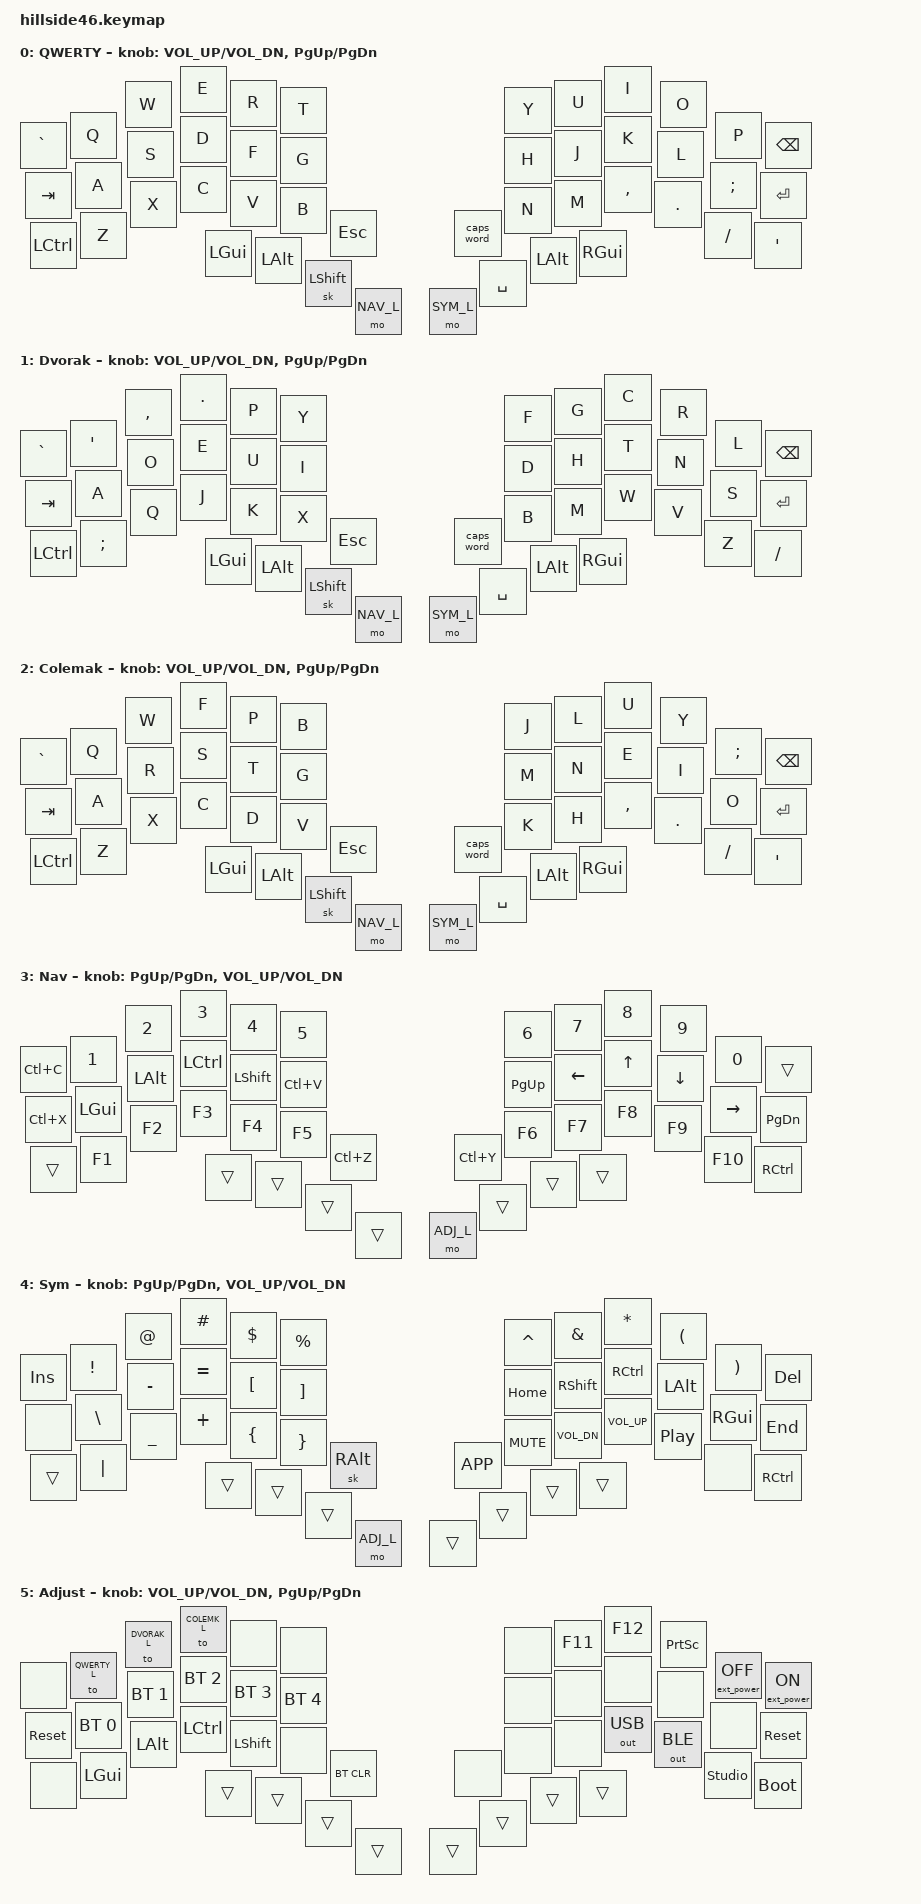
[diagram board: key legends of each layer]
/*
 * Copyright (c) 2021-2022 The ZMK Contributors
 *
 * SPDX-License-Identifier: MIT
 */

#include <behaviors.dtsi>
#include <dt-bindings/zmk/bt.h>
#include <dt-bindings/zmk/ext_power.h>
#include <dt-bindings/zmk/keys.h>
#include <dt-bindings/zmk/outputs.h>

#define QWERTY_L 0
#define DVORAK_L 1
#define COLEMK_L 2
#define NAV_L    3
#define SYM_L    4
#define ADJ_L    5

#define Undo   LC(Z)
#define Cut    LC(X)
#define Copy   LC(C)
#define Paste  LC(V)
#define Redo   LC(Y)


/ {
        behaviors {
                /* Hillside 46 positions:
                 *  0  1  2  3  4  5                    6  7  8  9 10 11
                 * 12 13 14 15 16 17                   18 19 20 21 22 23
                 * 24 25 26 27 28 29 30             31 32 33 34 35 36 37
                 *             38 39 40 41         42 43 44 45
                 */
                hml: home_row_mod_left {
                        compatible = "zmk,behavior-hold-tap";
                        #binding-cells = <2>;
                        flavor = "balanced";
                        tapping-term-ms = <280>;
                        quick-tap-ms = <175>;
                        require-prior-idle-ms = <150>;
                        bindings = <&kp>, <&kp>;
                        hold-trigger-key-positions = <6 7 8 9 10 11 18 19 20 21 22 23 31 32 33 34 35 36 37 38 39 40 41 42 43 44 45>;
                        hold-trigger-on-release;
                        display-name = "HRM Left";
                };

                hmr: home_row_mod_right {
                        compatible = "zmk,behavior-hold-tap";
                        #binding-cells = <2>;
                        flavor = "balanced";
                        tapping-term-ms = <280>;
                        quick-tap-ms = <175>;
                        require-prior-idle-ms = <150>;
                        bindings = <&kp>, <&kp>;
                        hold-trigger-key-positions = <0 1 2 3 4 5 12 13 14 15 16 17 24 25 26 27 28 29 30 38 39 40 41 42 43 44 45>;
                        hold-trigger-on-release;
                        display-name = "HRM Right";
                };
        };

        keymap {
                compatible = "zmk,keymap";

                default_layer {
                        display-name = "QWERTY";
/* QWERTY
 * -------------------------------------------------------------------------------------------------------------------------------------
 * | `     |   Q   |   W   |   E   |   R   |   T   |-----------------------------------|   Y   |   U   |   I   |   O   |   P   | BKSPC |
 * | TAB   |   A   |   S   |   D   |   F   |   G   |-----------------------------------|   H   |   J   |   K   |   L   |   ;   | ENTER |
 * | CTRL  |   Z   |   X   |   C   |   V   |   B   |  ESC  |-------------------|  CAPS |   N   |   M   |   ,   |   .   |   /   |   '   |
 *                                 |  GUI  |  ALT  |SK SHFT|  Nav  |---|  Sym  | SPACE |  ALT  |  GUI  |
 */
                        bindings = <
&kp  GRAVE    &kp  Q        &kp  W        &kp  E        &kp  R        &kp  T                                                                         &kp  Y        &kp  U        &kp  I        &kp  O        &kp  P        &kp  BSPC
&kp  TAB      &kp  A        &kp  S        &kp  D        &kp  F        &kp  G                                                                         &kp  H        &kp  J        &kp  K        &kp  L        &kp  SEMI     &kp  ENTER  
&kp  LCTRL    &kp  Z        &kp  X        &kp  C        &kp  V        &kp  B        &kp  ESC                                           &caps_word    &kp  N        &kp  M        &kp  COMMA    &kp  DOT      &kp  SLASH    &kp  SQT
                                                        &kp  LGUI     &kp  LALT     &sk  LSHIFT    &mo  NAV_L            &mo  SYM_L    &kp  SPACE    &kp  LALT     &kp  RGUI
                        >;
			
                        sensor-bindings = <&inc_dec_kp C_VOL_UP C_VOL_DN &inc_dec_kp PG_UP PG_DN>;
                };
		
                dvorak_layer {
                        display-name = "Dvorak";
/* DVORAK
 * -------------------------------------------------------------------------------------------------------------------------------------
 * | `     |   '   |   ,   |   .   |   P   |   Y   |-----------------------------------|   F   |   G   |   C   |   R   |   L   | BKSPC |
 * | TAB   |   A   |   O   |   E   |   U   |   I   |-----------------------------------|   D   |   H   |   T   |   N   |   S   | ENTER |
 * | CTRL  |   ;   |   Q   |   J   |   K   |   X   |  ESC  |-------------------| CAPS  |   B   |   M   |   W   |   V   |   Z   |   /   |
 *                                 |  GUI  |  ALT  |SK SHFT|  Nav  |---|  Sym  | SPACE |  ALT  |  GUI  |
 */
                        bindings = <
&kp  GRAVE    &kp  SQT      &kp  COMMA    &kp  DOT      &kp  P        &kp  Y                                                                         &kp  F        &kp  G        &kp  C        &kp  R        &kp  L        &kp  BSPC
&kp  TAB      &kp  A        &kp  O        &kp  E        &kp  U        &kp  I                                                                         &kp  D        &kp  H        &kp  T        &kp  N        &kp  S        &kp  ENTER
&kp  LCTRL    &kp  SEMI     &kp  Q        &kp  J        &kp  K        &kp  X        &kp  ESC                                           &caps_word    &kp  B        &kp  M        &kp  W        &kp  V        &kp  Z        &kp  SLASH
                                                        &kp  LGUI     &kp  LALT     &sk  LSHIFT    &mo  NAV_L            &mo  SYM_L    &kp  SPACE    &kp  LALT     &kp  RGUI
                        >;
			
                        sensor-bindings = <&inc_dec_kp C_VOL_UP C_VOL_DN &inc_dec_kp PG_UP PG_DN>;
                };
		
                colemak_layer {
                        display-name = "Colemak";
/* COLEMAK-DH
 * -------------------------------------------------------------------------------------------------------------------------------------
 * | `     |   Q   |   W   |   F   |   P   |   B   |-----------------------------------|   J   |   L   |   U   |   Y   |   ;   | BKSPC |
 * | TAB   |   A   |   R   |   S   |   T   |   G   |-----------------------------------|   M   |   N   |   E   |   I   |   O   | ENTER |
 * | CTRL  |   Z   |   X   |   C   |   D   |   V   |  ESC  |-------------------| CAPS  |   K   |   H   |   ,   |   .   |   /   |   '   |
 *                                 |  GUI  |  ALT  |SK SHFT|  Nav  |---|  Sym  | SPACE |  ALT  |  GUI  |
 */
                        bindings = <
&kp  GRAVE    &kp  Q        &kp  W        &kp  F        &kp  P        &kp  B                                                                         &kp  J        &kp  L        &kp  U        &kp  Y        &kp  SEMI     &kp  BSPC
&kp  TAB      &kp  A        &kp  R        &kp  S        &kp  T        &kp  G                                                                         &kp  M        &kp  N        &kp  E        &kp  I        &kp  O        &kp  ENTER
&kp  LCTRL    &kp  Z        &kp  X        &kp  C        &kp  D        &kp  V        &kp   ESC                                          &caps_word    &kp  K        &kp  H        &kp  COMMA    &kp  DOT      &kp  SLASH    &kp  SQT
                                                        &kp  LGUI     &kp  LALT     &sk  LSHIFT    &mo  NAV_L            &mo  SYM_L    &kp  SPACE    &kp  LALT     &kp  RGUI
                        >;
			
                        sensor-bindings = <&inc_dec_kp C_VOL_UP C_VOL_DN &inc_dec_kp PG_UP PG_DN>;
                };
		
                nav_layer {
                        display-name = "Nav";
/* NAV   
 * -------------------------------------------------------------------------------------------------------------------------------------
 * | Copy  |   1   |   2   |   3   |   4   |   5   |-----------------------------------|   6   |   7   |   8   |   9   |   0   | BSPC  |
 * | Cut   |  GUI  |  Alt  | Ctrl  | Shift | Paste |-----------------------------------| PG UP |  Left |  Up   |  Down | Right | PG DN |
 * | Ctrl  |  F1   |  F2   |  F3   |  F4   |  F5   |  UnDo |-------------------| ReDo  |  F6   |  F7   |  F8   |  F9   |  F10  | Ctrl  |
 *                                 |       |       |       |       |---| ADJ_L |       |       |       |
 */
                        bindings = <
&kp  Copy     &kp  N1       &kp  N2       &kp  N3       &kp  N4       &kp  N5                                                                        &kp   N6      &kp   N7      &kp   N8      &kp   N9      &kp  N0       &trans
&kp  Cut      &kp  LGUI     &kp  LALT     &kp  LCTRL    &kp  LSHFT    &kp  Paste                                                                     &kp   PG_UP   &kp  LEFT    &kp   UP      &kp   DOWN    &kp  RIGHT    &kp PG_DN
&trans        &kp  F1       &kp  F2       &kp  F3       &kp  F4       &kp  F5       &kp Undo                                           &kp  Redo     &kp   F6      &kp  F7      &kp   F8      &kp   F9      &kp  F10      &kp RCTRL
                                                        &trans        &trans        &trans        &trans                 &mo ADJ_L     &trans        &trans        &trans 
                        >;
			
                        sensor-bindings = <&inc_dec_kp PG_UP PG_DN &inc_dec_kp C_VOL_UP C_VOL_DN>;
                };

                sym_layer {
                        display-name = "Sym";
/* SYM
 * -------------------------------------------------------------------------------------------------------------------------------------
 * | INS   |   !   |   @   |   #   |   $   |   %   |-----------------------------------|   ^   |   &   |   *   |   (   |   )   | BSPC  |
 * |       |   \   |   -   |   =   |   [   |   ]   |-----------------------------------| HOME  | Shift | Ctrl  | Alt   | Gui   | END   |
 * | Ctrl  |   |   |   _   |   +   |   {   |   }   |SkAltGr|-------------------| MENU  | Mute  | Vol-  | Vol+  | Play  |       | Ctrl  |
 *                                 |       |       |       |  ADJ_L |---|      |       |       |       |
 */
                        bindings = <
&kp  INS      &kp  EXCL     &kp  AT       &kp  HASH     &kp  DOLLAR   &kp  PERCENT                                                                   &kp  CARET    &kp  AMPS     &kp  ASTRK    &kp  LPAR     &kp  RPAR     &kp DEL
&none         &kp  BSLH     &kp  MINUS    &kp  EQUAL    &kp  LBKT     &kp  RBKT                                                                      &kp  HOME     &kp  RSHFT    &kp  RCTRL    &kp  LALT     &kp  RGUI     &kp END
&trans        &kp  PIPE     &kp  UNDER    &kp  PLUS     &kp  LBRC     &kp  RBRC     &sk  RALT                                          &kp K_APP     &kp  C_MUTE   &kp  C_VOL_DN &kp  C_VOL_UP &kp  C_PP     &none         &kp RCTRL
                                                        &trans        &trans        &trans       &mo  ADJ_L               &trans       &trans        &trans        &trans
                        >;
			
                        sensor-bindings = <&inc_dec_kp PG_UP PG_DN &inc_dec_kp C_VOL_UP C_VOL_DN>;
                };
		
                adj_layer {
                        display-name = "Adjust";
/* ADJUST
 * -------------------------------------------------------------------------------------------------------------------------------------
 * |       | QWERTY| DVORAK| COLEMK|       |       |-----------------------------------|       |  F11  |  F12  |Prt Scr|EP_OFF | EP_ON |
 * | RESET | BT 0  | BT 1  | BT 2  | BT 3  | BT 4  |-----------------------------------|       |       |       |       |       | RESET |
 * |       | LGUI  | LALT  | LCTRL | LSHIFT|       |BT CLR |-------------------|       |       |       |OUT_USB|OUT_BLE|STUDIO | BOOTL |
 *                                 |       |       |       |       |---|       |       |       |       |
 */
                        bindings = <
&none         &to  QWERTY_L &to  DVORAK_L &to  COLEMK_L &none         &none                                                                             &none             &kp   F11          &kp   F12  &kp PRINTSCREEN   &ext_power EP_OFF  &ext_power EP_ON
&sys_reset    &bt  BT_SEL 0 &bt  BT_SEL 1 &bt  BT_SEL 2 &bt  BT_SEL 3 &bt  BT_SEL 4                                                                     &none             &none              &none            &none          &none           &sys_reset
&none         &kp  LGUI     &kp  LALT     &kp  LCTRL    &kp LSHIFT    &none         &bt BT_CLR                                         &none            &none             &none              &out  OUT_USB    &out  OUT_BLE  &studio_unlock  &bootloader
                                                        &trans        &trans        &trans        &trans                 &trans        &trans           &trans            &trans 
                        >;
			
                        sensor-bindings = <&inc_dec_kp C_VOL_UP C_VOL_DN &inc_dec_kp PG_UP PG_DN>;
                };

                extra1 {
                        status = "reserved";
                };

                extra2 {
                        status = "reserved";
                };
        };
};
